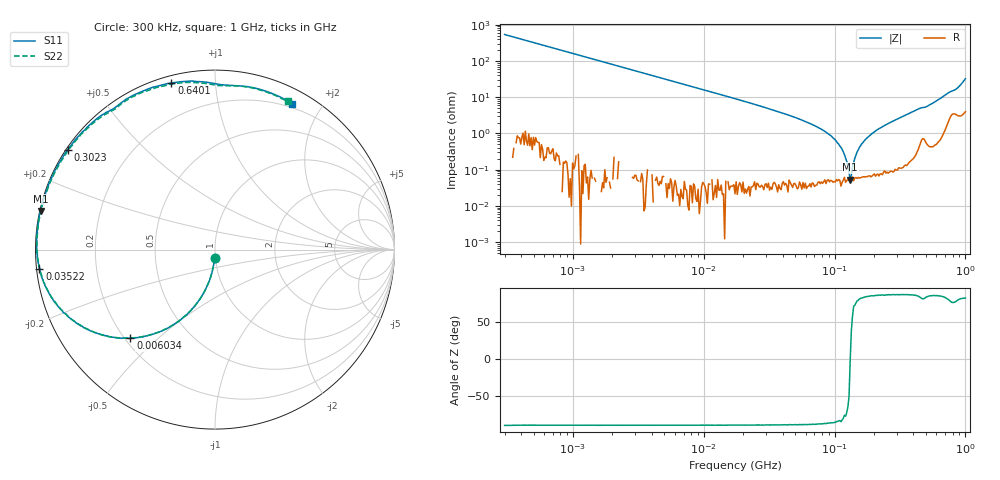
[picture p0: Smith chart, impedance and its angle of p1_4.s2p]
#  HZ  S  RI  R  50
! Rohde & Schwarz ZVA/B
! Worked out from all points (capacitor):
!   401 points, 300 kHz to 1 GHz, reference 50 ohm
!   read as one part in shunt: C = 986 pF near 312.4 kHz
!   lowest |Z| = 53.5 mohm at 131.6 MHz (marker M1)
!   series resonance near 131.7 MHz, so ESL is about 1.5 nH
!   S11 on the Smith chart (normalised r, x): 300 kHz: 0.99, -0.09; 6.034 MHz: 0.22, -0.41; 35.22 MHz: 0.01, -0.05; 302.3 MHz: 0.00, +0.31; 640.1 MHz: 0.03, +0.77; 1 GHz: 0.16, +1.65
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300000  -0.00178 -0.0461  0.9977 -0.0467  0.9981 -0.0467  -0.00202 -0.0453
1167356  -0.0316 -0.1745  0.9678 -0.1767  0.9683 -0.1766  -0.0324 -0.1743
2422493  -0.1245 -0.3279  0.8765 -0.3317  0.8768 -0.3329  -0.1236 -0.3268
4542403  -0.334 -0.4675  0.6654 -0.4756  0.6649 -0.4757  -0.3341 -0.4662
6033737  -0.4711 -0.4933  0.5286 -0.5039  0.5279 -0.5047  -0.472 -0.4924
1.732051e7  -0.8895 -0.2973  0.1097 -0.3262  0.1104 -0.3261  -0.8881 -0.2959
3.522188e7  -0.9781 -0.1062  0.0195 -0.1662  0.0192 -0.1664  -0.9761 -0.1044
6.739735e7  -0.9932 0.0432  -0.00135 -0.0704  -0.0011 -0.0705  -0.9926 0.0435
8.772763e7  -0.99 0.1063  -0.00233 -0.0407  -0.00233 -0.0406  -0.9889 0.1066
1.052934e8  -0.9832 0.1531  -0.0014 -0.0216  -0.00184 -0.0221  -0.9827 0.1533
1.165298e8  -0.9797 0.1811  -0.00022 -0.0123  -0.000186 -0.012  -0.9768 0.1804
1.289654e8  -0.9738 0.2126  0.00144 -0.00283  0.00137 -0.00245  -0.9709 0.2108
1.316074e8  -0.9718 0.2153  0.00204 -0.000524  0.00209 -0.000862  -0.9703 0.217
1.370549e8  -0.9687 0.2291  0.00331 0.00332  0.00295 0.00319  -0.9664 0.2303
1.486358e8  -0.9626 0.2558  0.00521 0.0109  0.00515 0.0106  -0.9591 0.255
1.644976e8  -0.9521 0.2907  0.00862 0.0198  0.00856 0.0203  -0.9492 0.2908
2.014798e8  -0.9253 0.3693  0.0185 0.0385  0.0184 0.0386  -0.9211 0.367
2.622557e8  -0.8654 0.486  0.038 0.0616  0.0383 0.062  -0.8625 0.4828
3.022563e8  -0.8207 0.5575  0.0538 0.0732  0.0541 0.0731  -0.8159 0.5538
4.917542e8  -0.532 0.8102  0.1416 0.0731  0.1421 0.0729  -0.534 0.8019
6.400909e8  -0.2434 0.9288  0.2173 0.045  0.2174 0.0449  -0.2539 0.9207
1e9  0.4316 0.8129  0.2642 -0.1566  0.2654 -0.1567  0.4067 0.8254
